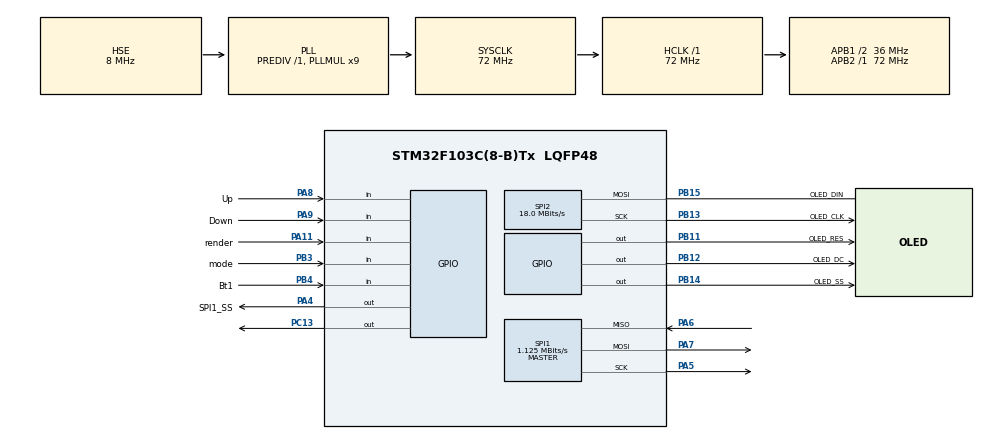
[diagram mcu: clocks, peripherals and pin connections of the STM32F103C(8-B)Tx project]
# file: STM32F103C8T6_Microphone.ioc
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Mcu.Family=STM32F1
Mcu.Name=STM32F103C(8-B)Tx
Mcu.Package=LQFP48
NVIC.PriorityGroup=NVIC_PRIORITYGROUP_4
PA11.GPIO_Label=render
PA11.GPIO_PuPd=GPIO_PULLDOWN
PA11.Signal=GPIO_Input
PA13.Mode=Serial_Wire
PA13.Signal=SYS_JTMS-SWDIO
PA14.Mode=Serial_Wire
PA14.Signal=SYS_JTCK-SWCLK
PA4.GPIO_Label=SPI1_SS
PA4.Signal=GPIO_Output
PA5.Mode=Full_Duplex_Master
PA5.Signal=SPI1_SCK
PA6.Mode=Full_Duplex_Master
PA6.Signal=SPI1_MISO
PA7.Mode=Full_Duplex_Master
PA7.Signal=SPI1_MOSI
PA8.GPIO_Label=Up
PA8.GPIO_PuPd=GPIO_PULLDOWN
PA8.Signal=GPIO_Input
PA9.GPIO_Label=Down
PA9.GPIO_PuPd=GPIO_PULLDOWN
PA9.Signal=GPIO_Input
PB11.GPIO_Label=OLED_RES
PB11.Signal=GPIO_Output
PB12.GPIO_Label=OLED_DC
PB12.Signal=GPIO_Output
PB13.GPIO_Label=OLED_CLK
PB13.Mode=Simplex_Bidirectional_Master
PB13.Signal=SPI2_SCK
PB14.GPIO_Label=OLED_SS
PB14.Signal=GPIO_Output
PB15.GPIO_Label=OLED_DIN
PB15.Mode=Simplex_Bidirectional_Master
PB15.Signal=SPI2_MOSI
PB3.GPIO_Label=mode
PB3.GPIO_PuPd=GPIO_PULLDOWN
PB3.Signal=GPIO_Input
PB4.GPIO_Label=Bt1
PB4.GPIO_PuPd=GPIO_PULLDOWN
PB4.Signal=GPIO_Input
PC13-TAMPER-RTC.Signal=GPIO_Output
PD0-OSC_IN.Mode=HSE-External-Oscillator
PD0-OSC_IN.Signal=RCC_OSC_IN
PD1-OSC_OUT.Mode=HSE-External-Oscillator
PD1-OSC_OUT.Signal=RCC_OSC_OUT
ProjectManager.HeapSize=0x200
ProjectManager.StackSize=0x400
ProjectManager.TargetToolchain=Makefile
RCC.AHBFreq_Value=72000000
RCC.APB1CLKDivider=RCC_HCLK_DIV2
RCC.APB1Freq_Value=36000000
RCC.APB1TimFreq_Value=72000000
RCC.APB2Freq_Value=72000000
RCC.APB2TimFreq_Value=72000000
RCC.HCLKFreq_Value=72000000
RCC.PLLMUL=RCC_PLL_MUL9
RCC.PLLSourceVirtual=RCC_PLLSOURCE_HSE
RCC.SYSCLKFreq_VALUE=72000000
RCC.SYSCLKSource=RCC_SYSCLKSOURCE_PLLCLK
RCC.USBFreq_Value=72000000
SPI1.BaudRatePrescaler=SPI_BAUDRATEPRESCALER_64
SPI1.CalculateBaudRate=1.125 MBits/s
SPI1.Direction=SPI_DIRECTION_2LINES
SPI1.Mode=SPI_MODE_MASTER
SPI1.VirtualType=VM_MASTER
SPI2.CalculateBaudRate=18.0 MBits/s
SPI2.Direction=SPI_DIRECTION_1LINE
SPI2.Mode=SPI_MODE_MASTER
SPI2.VirtualType=VM_MASTER
board=STM32F103C8T6_Microphone

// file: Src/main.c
/**
  ******************************************************************************
  * File Name          : main.c
  * Description        : Main program body
  ******************************************************************************
  ** This notice applies to any and all portions of this file
  * that are not between comment pairs USER CODE BEGIN and
  * USER CODE END. Other portions of this file, whether
  * inserted by the user or by software development tools
  * are owned by their respective copyright owners.
  *
  * COPYRIGHT(c) 2018 STMicroelectronics
  *
  * Redistribution and use in source and binary forms, with or without modification,
  * are permitted provided that the following conditions are met:
  *   1. Redistributions of source code must retain the above copyright notice,
  *      this list of conditions and the following disclaimer.
  *   2. Redistributions in binary form must reproduce the above copyright notice,
  *      this list of conditions and the following disclaimer in the documentation
  *      and/or other materials provided with the distribution.
  *   3. Neither the name of STMicroelectronics nor the names of its contributors
  *      may be used to endorse or promote products derived from this software
  *      without specific prior written permission.
  *
  * THIS SOFTWARE IS PROVIDED BY THE COPYRIGHT HOLDERS AND CONTRIBUTORS "AS IS"
  * AND ANY EXPRESS OR IMPLIED WARRANTIES, INCLUDING, BUT NOT LIMITED TO, THE
  * IMPLIED WARRANTIES OF MERCHANTABILITY AND FITNESS FOR A PARTICULAR PURPOSE ARE
  * DISCLAIMED. IN NO EVENT SHALL THE COPYRIGHT HOLDER OR CONTRIBUTORS BE LIABLE
  * FOR ANY DIRECT, INDIRECT, INCIDENTAL, SPECIAL, EXEMPLARY, OR CONSEQUENTIAL
  * DAMAGES (INCLUDING, BUT NOT LIMITED TO, PROCUREMENT OF SUBSTITUTE GOODS OR
  * SERVICES; LOSS OF USE, DATA, OR PROFITS; OR BUSINESS INTERRUPTION) HOWEVER
  * CAUSED AND ON ANY THEORY OF LIABILITY, WHETHER IN CONTRACT, STRICT LIABILITY,
  * OR TORT (INCLUDING NEGLIGENCE OR OTHERWISE) ARISING IN ANY WAY OUT OF THE USE
  * OF THIS SOFTWARE, EVEN IF ADVISED OF THE POSSIBILITY OF SUCH DAMAGE.
  *
  ******************************************************************************
  */

#include "main.h"
#include "stm32f1xx_hal.h"

/* USER CODE BEGIN Includes */
#include <stdio.h>
#include <stdlib.h>
#include <stdint.h>
#include <string.h>
#include <assert.h>
#include <math.h>
#include "MyMath.h"
#include "MyOLED.h"
/* USER CODE END Includes */

SPI_HandleTypeDef hspi1;
SPI_HandleTypeDef hspi2;

/* USER CODE BEGIN PV */
/* Private variables ---------------------------------------------------------*/

/* USER CODE END PV */

void SystemClock_Config(void);
static void MX_GPIO_Init(void);
static void MX_SPI1_Init(void);
static void MX_SPI2_Init(void);

/* USER CODE BEGIN PFP */
/* Private function prototypes -----------------------------------------------*/
/* USER CODE END PFP */

/* USER CODE BEGIN 0 */
uint16_t MCP3202_GetData(SPI_HandleTypeDef* MCP3202SPI){
	uint16_t Data = 0;
	uint8_t send[3],receive[3];
	GPIOA->BSRR = SPI1_SS_Pin<<16;
	send[0] = 0x01;send[1] = 0xE0;send[2] = 0xFF;
	HAL_SPI_TransmitReceive(MCP3202SPI,send,receive,3,100);
	GPIOA->BSRR = SPI1_SS_Pin;
	Data = (receive[1]&0xf)<<8 | receive[2];
	return Data;
}
char Str[250] = {0,};
uint16_t Sample[512];
uint32_t AmountSum = 0;
int Button[5] = {0,};
void OLED_SPI_Transmit(unsigned char *pData, uint16_t Size, uint32_t Timeout){
	HAL_SPI_Transmit(&hspi2, pData, Size, Timeout);
}
float pow2(float Value){
	return Value*Value;
}
float VecDistance(Complex Vect){
	return sqrt(pow2(Vect.re)+pow2(Vect.im));
}
uint32_t Delay=0;
#define delay(time) Delay=time;while(Delay--){;}
#define UpBt		if(GPIOA->IDR&(1<<(8)))Button[0]++;else
#define DnBt		if(GPIOA->IDR&(1<<(9)))Button[1]++;else
#define ModeBt		if(GPIOB->IDR&(1<<(3)))Button[2]++;else Button[2]=0;if(Button[2]==1)
#define RenderBt	if(GPIOA->IDR&(1<<(11)))Button[3]++;else Button[3]=0;if(Button[3]==1)
#define Bt1Bt		if(GPIOB->IDR&(1<<(4)))Button[4]++;else Button[4]=0;if(Button[4]==1)
uint32_t tick0 = 0,Getms = 0,GetFTms=0;
int bufflen = 512,Autorender=0,mode=0,Getdelaytime = 500,displaymode = 0,AddDot=0;
double Sensitivity = 1.0;//감도
vecRef input = 0;
void FTRender(){
	input = vecAlloc(bufflen);
	tick0 = HAL_GetTick();
	for(int i=0;i<bufflen;i++){
		input->arr[i].re = (double)((double)MCP3202_GetData(&hspi1)-2048.0)/128.0;
		delay(Getdelaytime);
	}
	Getms = HAL_GetTick()-tick0;
	tick0 = HAL_GetTick();
	if(displaymode==0)fft(input, &input);
	GetFTms = HAL_GetTick()-tick0;
}
uint8_t HzBuf[5] = {0xAE,0xA2,0xE4,0xA8,0xAE};
uint8_t CommaBuf[5] = {0x00,0x00,0x00,0x40,0x40};
uint8_t AutoBuf[6] = {0xf8,0xd8,0xa8,0x88,0xa8,0xf8};
uint8_t StatusBarBuf[4][14] = {
	{0xff,0xfc
		,0x90,0x24
		,0xa0,0x14
		,0xff,0xfc
		,0xa0,0x14
		,0x90,0x24
		,0xff,0xfc
	},{0xff,0xfc
		,0x90,0x04
		,0x90,0x04
		,0xfc,0xfc
		,0x90,0x04
		,0x90,0x04
		,0xff,0xfc
	},{0xff,0xfc
		,0x90,0x24
		,0xb8,0x24
		,0xd4,0xac
		,0x90,0x74
		,0x90,0x24
		,0xff,0xfc
	},{0xff,0xfc
		,0xbf,0x6c
		,0xbe,0xc4
		,0x94,0x6c
		,0xa4,0xfc
		,0x8a,0xc4
		,0xff,0xfc
	}
};
/* USER CODE END 0 */

int main(void)
{

  /* USER CODE BEGIN 1 */
  //{begin
  SetRESPin((void*)GPIOB, 11);
  SetDCPin((void*)GPIOB, 12);
  SetSSPin((void*)GPIOB, 14);

  /* USER CODE END 1 */

  /* MCU Configuration----------------------------------------------------------*/

  /* Reset of all peripherals, Initializes the Flash interface and the Systick. */
  HAL_Init();

  /* Configure the system clock */
  SystemClock_Config();

  /* Initialize all configured peripherals */
  MX_GPIO_Init();
  MX_SPI1_Init();
  MX_SPI2_Init();

  /* USER CODE BEGIN 2 */
  HAL_Delay(100);
	OLEDinit();
	NoShowDrawString(0,0,OLED_Char8X16,"STM32F103 FT V1");
	ShowBuffer();HAL_Delay(2000);
	NoShowDrawString(0,0,OLED_Char8X16,"FourierTransform");ShowBuffer();HAL_Delay(1000);ClearBuffer(0);
	NoShowDrawString(0,0,OLED_Char8X16,"STM32F103 FT V1");
	NoShowDrawString(0,24,OLED_Char8X16,"    Made by");ShowBuffer();HAL_Delay(1000);
	NoShowDrawString(0,40,OLED_Char8X16,"  Park Giyong.");ShowBuffer();HAL_Delay(1000);
	NoShowDrawString(0,56,OLED_Char6X8,"  2018.03.04 21:55");ShowBuffer();HAL_Delay(2000);
	FTRender();
  /* USER CODE END 2 */

  /* Infinite loop */
  /* USER CODE BEGIN WHILE */
  //}
  int len=0;
  while (1)
  {
  /* USER CODE END WHILE */

  /* USER CODE BEGIN 3 */
  len=0;
	ModeBt{if(mode!=3)mode++;else mode=0;}
	RenderBt{if(!Autorender)FTRender();else {AddDot=0;Sensitivity=1;if(displaymode)displaymode=0;else displaymode=1;}}
	else if(Autorender){NoShowDrawPicture(119, 0, 5, 6, AutoBuf, 1);FTRender();}
	Bt1Bt{if(Autorender)Autorender=0;else Autorender=1;}
	//sprintf(Str,"%ld",Getms);NoShowDrawNumStr(1, 0, OLED_Num3X5, Str, 0);int len=strlen(Str);
	//sprintf(Str,"%d %d %d %d %d %d %d %d",Button[0],Button[1],Button[2],Button[3],Button[4],Autorender,displaymode,mode);
	//NoShowDrawNumStr(1, 6, OLED_Num3X5, Str, 0);
	//NoShowDrawPicture((len<<2)+1, 0, 3, 5, CommaBuf, 1);len++;
	//sprintf(Str,"%ld",GetFTms);NoShowDrawNumStr((len<<2)+1, 0, OLED_Num3X5, Str, 0);len+=strlen(Str);
	//NoShowDrawPicture((len<<2)+1, 0, 3, 5, CommaBuf, 1);len++;
	sprintf(Str,"%ld",(uint32_t)((1000.0/(double)Getms)*(AddDot+1)));NoShowDrawNumStr((len<<2)+1, 0, OLED_Num3X5, Str, 0);len+=strlen(Str);
	NoShowDrawPicture((len<<2)+1, 0, 7, 5, HzBuf, 1);len+=2;
	sprintf(Str," %ld",(uint32_t)((1000.0/(double)Getms)*(128.0+AddDot)));NoShowDrawNumStr((len<<2)+1, 0, OLED_Num3X5, Str, 0);len+=strlen(Str);
	NoShowDrawPicture((len<<2)+1, 0, 7, 5, HzBuf, 1);len+=2;
	sprintf(Str," %d",Button[0]+Button[1]+Button[2]+Button[3]+Button[4]);NoShowDrawNumStr((len<<2)+1, 0, OLED_Num3X5, Str, 0);len+=strlen(Str);
	if(mode==0){sprintf(Str," %d",AddDot);NoShowDrawNumStr((len<<2)+1, 0, OLED_Num3X5, Str, 0);len+=strlen(Str);}
	else if(mode==1){sprintf(Str," %d",Getdelaytime);NoShowDrawNumStr((len<<2)+1, 0, OLED_Num3X5, Str, 0);len+=strlen(Str);}
	else if(mode==2){sprintf(Str," %ld",(uint32_t)Sensitivity);NoShowDrawNumStr((len<<2)+1, 0, OLED_Num3X5, Str, 0);len+=strlen(Str);}
	else if(mode==3){sprintf(Str," %d",bufflen);NoShowDrawNumStr((len<<2)+1, 0, OLED_Num3X5, Str, 0);len+=strlen(Str);}
	NoShowDrawPicture(105, 0, 14, 7, StatusBarBuf[mode], 1);
	UpBt{
		switch(mode){
		case 0:if(AddDot+Button[0]<=bufflen-128)AddDot+=Button[0];break;
		case 1:Getdelaytime+=Button[0];break;
		case 2:Sensitivity *= 1.5;break;
		case 3:if(bufflen+Button[0] <= 2048)bufflen+=Button[0];break;
		}
		Button[0]=0;
	}
	DnBt{
		switch(mode){
		case 0:if(AddDot-Button[1]>=0)AddDot-=Button[1];break;
		case 1:if(Getdelaytime-Button[1] >= 0)Getdelaytime-=Button[1];break;
		case 2:Sensitivity /= 1.5;break;
		case 3:if(bufflen-Button[1] >= 0)bufflen-=Button[1];break;
		}
		Button[1]=0;
	}
	if(displaymode){
		for(int i=0;i<127;i++){
			NoShowDrawLine(i,60-(input->arr[i+AddDot].re+1.0)*22.5*Sensitivity,i+1,60-(input->arr[i+1+AddDot].re+1.0)*22.5*Sensitivity,1);
		}
	}else{
		for(int i=0;i<127;i++){
			NoShowDrawLine(i,60-VecDistance(input->arr[i+AddDot])*22.5*Sensitivity,i+1,60-VecDistance(input->arr[i+1+AddDot])*22.5*Sensitivity,1);
		}
	}
	ShowBuffer();ClearBuffer(0);
    vecRelease(&input);
  }
  /* USER CODE END 3 */

}

/** System Clock Configuration
*/
void SystemClock_Config(void)
{

  RCC_OscInitTypeDef RCC_OscInitStruct;
  RCC_ClkInitTypeDef RCC_ClkInitStruct;

    /**Initializes the CPU, AHB and APB busses clocks
    */
  RCC_OscInitStruct.OscillatorType = RCC_OSCILLATORTYPE_HSE;
  RCC_OscInitStruct.HSEState = RCC_HSE_ON;
  RCC_OscInitStruct.HSEPredivValue = RCC_HSE_PREDIV_DIV1;
  RCC_OscInitStruct.HSIState = RCC_HSI_ON;
  RCC_OscInitStruct.PLL.PLLState = RCC_PLL_ON;
  RCC_OscInitStruct.PLL.PLLSource = RCC_PLLSOURCE_HSE;
  RCC_OscInitStruct.PLL.PLLMUL = RCC_PLL_MUL9;
  if (HAL_RCC_OscConfig(&RCC_OscInitStruct) != HAL_OK)
  {
    _Error_Handler(__FILE__, __LINE__);
  }

    /**Initializes the CPU, AHB and APB busses clocks
    */
  RCC_ClkInitStruct.ClockType = RCC_CLOCKTYPE_HCLK|RCC_CLOCKTYPE_SYSCLK
                              |RCC_CLOCKTYPE_PCLK1|RCC_CLOCKTYPE_PCLK2;
  RCC_ClkInitStruct.SYSCLKSource = RCC_SYSCLKSOURCE_PLLCLK;
  RCC_ClkInitStruct.AHBCLKDivider = RCC_SYSCLK_DIV1;
  RCC_ClkInitStruct.APB1CLKDivider = RCC_HCLK_DIV2;
  RCC_ClkInitStruct.APB2CLKDivider = RCC_HCLK_DIV1;

  if (HAL_RCC_ClockConfig(&RCC_ClkInitStruct, FLASH_LATENCY_2) != HAL_OK)
  {
    _Error_Handler(__FILE__, __LINE__);
  }

    /**Configure the Systick interrupt time
    */
  HAL_SYSTICK_Config(HAL_RCC_GetHCLKFreq()/1000);

    /**Configure the Systick
    */
  HAL_SYSTICK_CLKSourceConfig(SYSTICK_CLKSOURCE_HCLK);

  /* SysTick_IRQn interrupt configuration */
  HAL_NVIC_SetPriority(SysTick_IRQn, 0, 0);
}

/* SPI1 init function */
static void MX_SPI1_Init(void)
{

  /* SPI1 parameter configuration*/
  hspi1.Instance = SPI1;
  hspi1.Init.Mode = SPI_MODE_MASTER;
  hspi1.Init.Direction = SPI_DIRECTION_2LINES;
  hspi1.Init.DataSize = SPI_DATASIZE_8BIT;
  hspi1.Init.CLKPolarity = SPI_POLARITY_LOW;
  hspi1.Init.CLKPhase = SPI_PHASE_1EDGE;
  hspi1.Init.NSS = SPI_NSS_SOFT;
  hspi1.Init.BaudRatePrescaler = SPI_BAUDRATEPRESCALER_64;
  hspi1.Init.FirstBit = SPI_FIRSTBIT_MSB;
  hspi1.Init.TIMode = SPI_TIMODE_DISABLE;
  hspi1.Init.CRCCalculation = SPI_CRCCALCULATION_DISABLE;
  hspi1.Init.CRCPolynomial = 10;
  if (HAL_SPI_Init(&hspi1) != HAL_OK)
  {
    _Error_Handler(__FILE__, __LINE__);
  }

}

/* SPI2 init function */
static void MX_SPI2_Init(void)
{

  /* SPI2 parameter configuration*/
  hspi2.Instance = SPI2;
  hspi2.Init.Mode = SPI_MODE_MASTER;
  hspi2.Init.Direction = SPI_DIRECTION_1LINE;
  hspi2.Init.DataSize = SPI_DATASIZE_8BIT;
  hspi2.Init.CLKPolarity = SPI_POLARITY_LOW;
  hspi2.Init.CLKPhase = SPI_PHASE_1EDGE;
  hspi2.Init.NSS = SPI_NSS_SOFT;
  hspi2.Init.BaudRatePrescaler = SPI_BAUDRATEPRESCALER_2;
  hspi2.Init.FirstBit = SPI_FIRSTBIT_MSB;
  hspi2.Init.TIMode = SPI_TIMODE_DISABLE;
  hspi2.Init.CRCCalculation = SPI_CRCCALCULATION_DISABLE;
  hspi2.Init.CRCPolynomial = 10;
  if (HAL_SPI_Init(&hspi2) != HAL_OK)
  {
    _Error_Handler(__FILE__, __LINE__);
  }

}

/** Configure pins as
        * Analog
        * Input
        * Output
        * EVENT_OUT
        * EXTI
*/
static void MX_GPIO_Init(void)
{

  GPIO_InitTypeDef GPIO_InitStruct;

  /* GPIO Ports Clock Enable */
  __HAL_RCC_GPIOC_CLK_ENABLE();
  __HAL_RCC_GPIOD_CLK_ENABLE();
  __HAL_RCC_GPIOA_CLK_ENABLE();
  __HAL_RCC_GPIOB_CLK_ENABLE();

  /*Configure GPIO pin Output Level */
  HAL_GPIO_WritePin(GPIOC, GPIO_PIN_13, GPIO_PIN_RESET);

  /*Configure GPIO pin Output Level */
  HAL_GPIO_WritePin(SPI1_SS_GPIO_Port, SPI1_SS_Pin, GPIO_PIN_RESET);

  /*Configure GPIO pin Output Level */
  HAL_GPIO_WritePin(GPIOB, OLED_RES_Pin|OLED_DC_Pin|OLED_SS_Pin, GPIO_PIN_RESET);

  /*Configure GPIO pin : PC13 */
  GPIO_InitStruct.Pin = GPIO_PIN_13;
  GPIO_InitStruct.Mode = GPIO_MODE_OUTPUT_PP;
  GPIO_InitStruct.Speed = GPIO_SPEED_FREQ_LOW;
  HAL_GPIO_Init(GPIOC, &GPIO_InitStruct);

  /*Configure GPIO pin : SPI1_SS_Pin */
  GPIO_InitStruct.Pin = SPI1_SS_Pin;
  GPIO_InitStruct.Mode = GPIO_MODE_OUTPUT_PP;
  GPIO_InitStruct.Speed = GPIO_SPEED_FREQ_LOW;
  HAL_GPIO_Init(SPI1_SS_GPIO_Port, &GPIO_InitStruct);

  /*Configure GPIO pins : OLED_RES_Pin OLED_DC_Pin OLED_SS_Pin */
  GPIO_InitStruct.Pin = OLED_RES_Pin|OLED_DC_Pin|OLED_SS_Pin;
  GPIO_InitStruct.Mode = GPIO_MODE_OUTPUT_PP;
  GPIO_InitStruct.Speed = GPIO_SPEED_FREQ_LOW;
  HAL_GPIO_Init(GPIOB, &GPIO_InitStruct);

  /*Configure GPIO pins : Up_Pin Down_Pin render_Pin */
  GPIO_InitStruct.Pin = Up_Pin|Down_Pin|render_Pin;
  GPIO_InitStruct.Mode = GPIO_MODE_INPUT;
  GPIO_InitStruct.Pull = GPIO_PULLDOWN;
  HAL_GPIO_Init(GPIOA, &GPIO_InitStruct);

  /*Configure GPIO pins : mode_Pin Bt1_Pin */
  GPIO_InitStruct.Pin = mode_Pin|Bt1_Pin;
  GPIO_InitStruct.Mode = GPIO_MODE_INPUT;
  GPIO_InitStruct.Pull = GPIO_PULLDOWN;
  HAL_GPIO_Init(GPIOB, &GPIO_InitStruct);

}

void _Error_Handler(char * file, int line)
{
  while(1)
  {
  }
}

/************************ (C) COPYRIGHT STMicroelectronics *****END OF FILE****/
